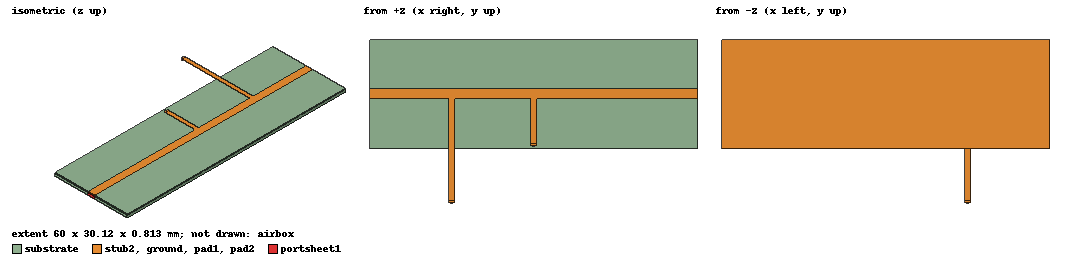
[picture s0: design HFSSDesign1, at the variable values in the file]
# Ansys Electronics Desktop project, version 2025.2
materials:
  vacuum: permittivity=1
  Rogers RO4003 (tm): permittivity=3.55 dielectric_loss_tangent=0.0027

design HFSSDesign1 (HFSS, HFSS Modal Network, model units mm)
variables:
  sub_h = 0.813mm
  sub_er = 3.38
  w50 = 1.85mm
  wstub = 1mm
  l_stub1 = 18.7mm
  l_stub2 = 8.3mm
  pos1 = 10mm
  pos2 = 25mm
  Cvar1 = 0.8pF
  Cvar2 = 0.8pF
  gap_size = 0.2mm
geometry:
  ground = rectangle(corner=(-5mm, -10mm, 0mm), x_size=60mm, y_size=20mm)
  substrate [Rogers RO4003 (tm)] = box(corner=(-5mm, -10mm, 0mm), size=(60mm, 20mm, sub_h))
  feedline = rectangle(corner=(-5mm, -w50/2, sub_h), x_size=60mm, y_size=w50)
  stub1 = rectangle(corner=(pos1 - wstub/2, -w50/2, sub_h), x_size=wstub, y_size=-l_stub1 + gap_size)
  feedline.unite(stub1)
  pad1 = rectangle(corner=(pos1 - wstub/2, (-w50/2 - l_stub1 - 0.2mm), sub_h), x_size=wstub, y_size=0.3mm)
  via1 [vacuum] = cylinder(axis=Z, base_centre=(pos1, (-w50/2 - l_stub1 - 0.35mm), 0mm), radius=0.15mm, height=sub_h)
  pad2 = rectangle(corner=(pos2 - wstub/2, -w50/2 - l_stub2 - 0.2mm, sub_h), x_size=wstub, y_size=0.3mm)
  via2 [vacuum] = cylinder(axis=Z, base_centre=(pos2, -w50/2 - l_stub2 - 0.35mm, 0mm), radius=0.15mm, height=sub_h)
  stub2 = rectangle(corner=(pos2 - wstub/2, -w50/2, sub_h), x_size=wstub, y_size=-l_stub2 + 0.2mm)
  stub2.unite(feedline)
  Rectangle1 = rectangle(corner=(9.5mm, -19.425mm, sub_h), x_size=1mm, y_size=-0.1mm)
  Rectangle2 = rectangle(corner=(24.5mm, -9.025mm, 0.813mm), x_size=1mm, y_size=-0.1mm)
  portsheet1 = rectangle(corner=(55mm, -0.925mm, 0.813mm), y_size=1.925mm, z_size=-0.813mm)
  portsheet2 = rectangle(corner=(-5mm, -0.925mm, 0.813mm), y_size=1.925mm, z_size=-0.813mm)
  airbox [vacuum] = box(corner=(-5mm, -10mm - 37mm, -37mm), size=(60mm, 20mm + 74mm, sub_h + 74mm))
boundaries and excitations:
  PerfE2: Perfect E Objects=pad1
  PerfE3: Perfect E Objects=via1
  PerfE4: Perfect E Objects=pad2
  PerfE5: Perfect E Objects=via2
  PerfE6: Perfect E Objects=ground
  PerfE7: Perfect E Objects=stub2
  LumpRLC1: Lumped RLC Objects=Rectangle1 CurrentLine{(9930mm, -19430mm, 813mm) -> (9980mm, -19520mm, 813mm)} RLC_Type=Parallel Resistance=0.6ohm Inductance=0.5nH Capacitance=0.8pF
  LumpRLC2: Lumped RLC Objects=Rectangle2 CurrentLine{(24940mm, -9040mm, 813mm) -> (24960mm, -9100mm, 813mm)} RLC_Type=Parallel Resistance=0.6ohm Inductance=0.5nH Capacitance=0.8pF
  Rad1: Radiation Faces=airbox.face(-y, +z, +y, -z)
  port1: Wave Port Objects=portsheet1 WavePortType=Modal NumModes=1 Modes{Mode1{IntLine{(55, 0.2, 0) -> (55000mm, 200mm, 800mm)} CharImp=Zpi}}
  port2: Wave Port Objects=portsheet2 WavePortType=Modal NumModes=1 Modes{Mode1{IntLine{(-5, 0.1, 0) -> (-5000mm, 100mm, 800mm)} CharImp=Zpi}}
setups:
  Setup1: HfssDriven Frequency=5.5GHz MaxDeltaS=0.01 MaximumPasses=15 MinimumPasses=1 MinimumConvergedPasses=1 PercentRefinement=30 BasisOrder=1 PortAccuracy=2 DrivenSolverType="Direct Solver"
    sweep Sweep: 1GHz to 8GHz, 401 points; Type=Interpolating InterpTolerance=0.5 InterpMaxSolns=250 InterpUsePortImped=false PassivityErrorTolerance=0.0001
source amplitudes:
  port1:1: 1W 0deg
  port2:1: 0W 0deg
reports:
  S Parameter Plot1: dB(S(port2,port1)), dB(S(port1,port1)) vs Freq on Setup1 : Sweep
